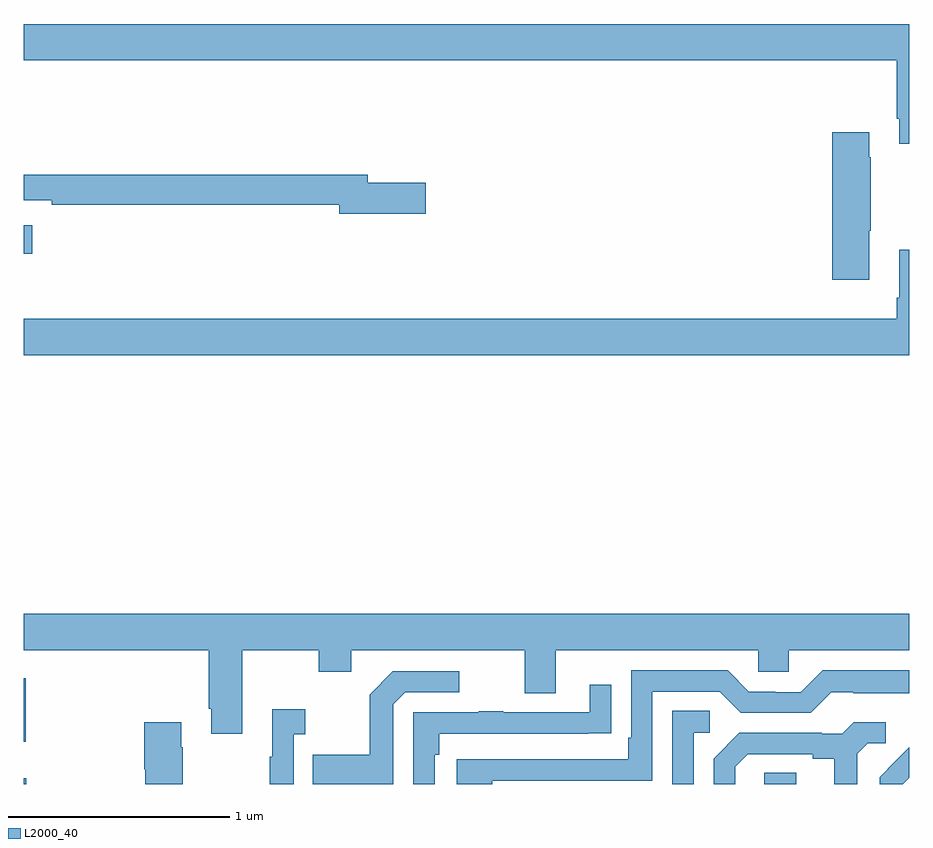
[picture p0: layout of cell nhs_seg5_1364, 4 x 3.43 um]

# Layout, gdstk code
import gdstk
lib = gdstk.Library(unit=1e-6, precision=1e-09)
def R(c, l, rs):  # rectangles x0, y0, x1, y1
    for r in rs: c.add(gdstk.rectangle(r[:2], r[2:], *l))
def P(c, l, *ps):  # polygons
    for p in ps: c.add(gdstk.Polygon(p, *l))
L2000_40 = (2000, 40)

nhs_seg5_1364 = lib.new_cell('nhs_seg5_1364')
R(nhs_seg5_1364, L2000_40, [(193,878.799,193.012,878.824), (196.344,878.799,196.489,878.849), (193,878.99,193.01,879.277), (193,881.194,193.039,881.323)])
P(nhs_seg5_1364, L2000_40, [(197,882.232),(193,882.232),(193,882.068),(196.943,882.068),(196.943,881.803),(196.955,881.803),(196.955,881.691),(197,881.691)],
  [(196.819,881.299),(196.827,881.299),(196.827,881.63),(196.819,881.63),(196.819,881.743),(196.652,881.743),(196.652,881.076),(196.819,881.076)],
  [(194.815,881.516),(194.554,881.516),(194.554,881.552),(193,881.552),(193,881.436),(193.126,881.436),(193.126,881.416),(194.426,881.416),(194.426,881.374),(194.815,881.374)],
  [(197,881.212),(196.955,881.212),(196.955,880.996),(196.943,880.996),(196.943,880.9),(193,880.9),(193,880.736),(197,880.736)],
  [(193.987,879.404),(194.332,879.404),(194.332,879.305),(194.479,879.305),(194.479,879.404),(195.263,879.404),(195.263,879.21),(195.403,879.21),(195.403,879.404),(196.317,879.404),(196.317,879.306),(196.455,879.306),(196.455,879.404),(197,879.404),(197,879.568),(193,879.568),(193,879.404),(193.835,879.404),(193.835,879.139),(193.847,879.139),(193.847,879.027),(193.987,879.027)],
  [(195.116,878.814),(195.84,878.814),(195.84,879.216),(196.143,879.216),(196.239,879.12),(196.554,879.12),(196.647,879.213),(196.747,879.213),(196.747,879.209),(197,879.209),(197,879.313),(196.609,879.313),(196.509,879.213),(196.394,879.213),(196.394,879.216),(196.275,879.216),(196.179,879.312),(195.744,879.312),(195.744,879.007),(195.731,879.007),(195.731,878.91),(194.955,878.91),(194.955,878.799),(195.116,878.799)],
  [(194.67,879.159),(194.724,879.213),(194.968,879.213),(194.968,879.309),(194.667,879.309),(194.562,879.203),(194.562,878.931),(194.305,878.931),(194.305,878.799),(194.67,878.799)],
  [(194.856,878.93),(194.876,878.93),(194.876,879.027),(195.551,879.027),(195.551,879.028),(195.653,879.028),(195.653,879.247),(195.557,879.247),(195.557,879.123),(195.167,879.123),(195.167,879.128),(195.055,879.128),(195.055,879.123),(194.76,879.123),(194.76,878.799),(194.856,878.799)],
  [(194.22,879.023),(194.272,879.023),(194.272,879.136),(194.123,879.136),(194.123,878.923),(194.112,878.923),(194.112,878.799),(194.22,878.799)],
  [(196.026,879.03),(196.099,879.03),(196.099,879.131),(195.93,879.131),(195.93,878.799),(196.026,878.799)],
  [(193.719,878.966),(193.711,878.966),(193.711,879.079),(193.544,879.079),(193.544,878.866),(193.549,878.866),(193.549,878.799),(193.719,878.799)],
  [(196.213,878.877),(196.27,878.934),(196.565,878.934),(196.565,878.912),(196.661,878.912),(196.661,878.799),(196.765,878.799),(196.765,878.935),(196.812,878.982),(196.894,878.982),(196.894,879.079),(196.75,879.079),(196.698,879.027),(196.604,879.027),(196.604,879.03),(196.232,879.03),(196.116,878.914),(196.116,878.799),(196.213,878.799)],
  [(197,878.828),(197,878.966),(196.938,878.904),(196.939,878.903),(196.866,878.83),(196.866,878.799),(196.971,878.799)])

lib.write_gds('nhs_seg5_1364.gds')
